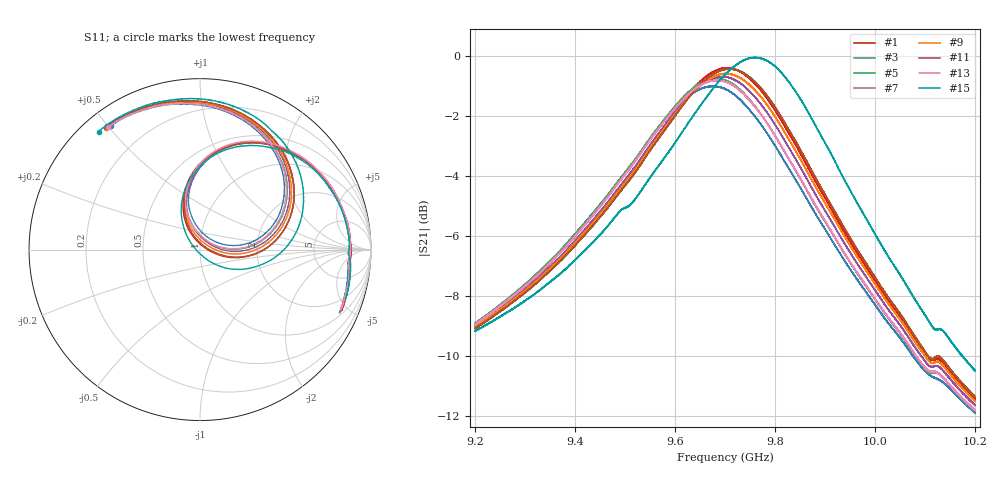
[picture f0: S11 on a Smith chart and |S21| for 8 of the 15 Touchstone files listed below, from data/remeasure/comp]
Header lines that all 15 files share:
!Agilent Technologies,N5242A,MY51221714,A.09.90.19
!Agilent N5242A: A.09.90.19
!Correction: S11(Full 2 Port(1,2))
!S21(Full 2 Port(1,2))
!S12(Full 2 Port(1,2))
!S22(Full 2 Port(1,2))
!S2P File: Measurements: S11, S21, S12, S22:
# Hz S  dB  R 50
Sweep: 9.2 GHz to 10.2 GHz
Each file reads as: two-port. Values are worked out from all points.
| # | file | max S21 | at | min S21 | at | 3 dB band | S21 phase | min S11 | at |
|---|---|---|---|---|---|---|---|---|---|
| 1 | c0_1.s2p | -0.40 dB | 9.7 GHz | -11.4 dB | 10.2 GHz | 9.534 GHz-9.855 GHz | -112 deg at 9.7 GHz | -31.9 dB | 9.706 GHz |
| 2 | c0_2.s2p | -0.39 dB | 9.696 GHz | -11.6 dB | 10.2 GHz | 9.525 GHz-9.845 GHz | -116 deg at 9.7 GHz | -30.9 dB | 9.695 GHz |
| 3 | c3_1.s2p | -1.00 dB | 9.679 GHz | -11.9 dB | 10.2 GHz | 9.494 GHz-9.837 GHz | -123 deg at 9.7 GHz | -21.5 dB | 9.678 GHz |
| 4 | c3_2.s2p | -6.13 dB | 9.491 GHz | -14.7 dB | 10.2 GHz | 9.2 GHz-9.776 GHz | -149 deg at 9.7 GHz | -6.6 dB | 9.518 GHz |
| 5 | c4_1.s2p | -0.75 dB | 9.679 GHz | -11.8 dB | 10.2 GHz | 9.507 GHz-9.839 GHz | -120 deg at 9.7 GHz | -23.8 dB | 9.684 GHz |
| 6 | c4_2.s2p | -3.90 dB | 9.566 GHz | -13.5 dB | 10.2 GHz | 9.312 GHz-9.788 GHz | -144 deg at 9.7 GHz | -9.9 dB | 9.579 GHz |
| 7 | c5_1.s2p | -0.69 dB | 9.696 GHz | -11.6 dB | 10.2 GHz | 9.521 GHz-9.85 GHz | -116 deg at 9.7 GHz | -24.6 dB | 9.697 GHz |
| 8 | c5_2.s2p | -2.03 dB | 9.639 GHz | -12.5 dB | 10.2 GHz | 9.436 GHz-9.82 GHz | -131 deg at 9.7 GHz | -14.4 dB | 9.647 GHz |
| 9 | c6_1.s2p | -0.59 dB | 9.705 GHz | -11.5 dB | 10.2 GHz | 9.529 GHz-9.856 GHz | -114 deg at 9.7 GHz | -26.9 dB | 9.703 GHz |
| 10 | c6_2.s2p | -1.61 dB | 9.661 GHz | -12.1 dB | 10.2 GHz | 9.468 GHz-9.836 GHz | -125 deg at 9.7 GHz | -16.4 dB | 9.669 GHz |
| 11 | c7_1.s2p | -0.43 dB | 9.709 GHz | -11.4 dB | 10.2 GHz | 9.539 GHz-9.861 GHz | -111 deg at 9.7 GHz | -30.2 dB | 9.711 GHz |
| 12 | c7_2.s2p | -0.60 dB | 9.699 GHz | -11.6 dB | 10.2 GHz | 9.524 GHz-9.851 GHz | -115 deg at 9.7 GHz | -26.0 dB | 9.698 GHz |
| 13 | c8_1.s2p | -0.81 dB | 9.681 GHz | -11.8 dB | 10.2 GHz | 9.507 GHz-9.841 GHz | -120 deg at 9.7 GHz | -23.6 dB | 9.686 GHz |
| 14 | c8_2.s2p | -4.31 dB | 9.558 GHz | -13.8 dB | 10.2 GHz | 9.283 GHz-9.784 GHz | -145 deg at 9.7 GHz | -8.7 dB | 9.566 GHz |
| 15 | fp_3.5.s2p | -0.05 dB | 9.761 GHz | -10.5 dB | 10.2 GHz | 9.594 GHz-9.905 GHz | -92 deg at 9.7 GHz | -35.4 dB | 9.759 GHz |
